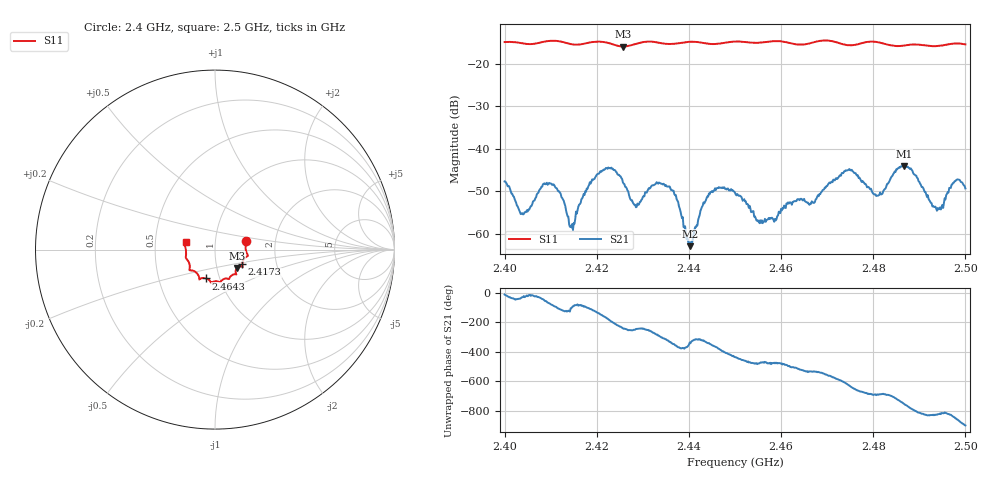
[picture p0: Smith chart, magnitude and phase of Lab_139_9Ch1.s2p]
# Hz S RI R 50
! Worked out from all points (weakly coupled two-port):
!   601 points, 2.4 GHz to 2.5 GHz, reference 50 ohm
!   highest |S21| = -44.03 dB at 2.4867 GHz (marker M1); lowest = -62.9 dB at 2.4403 GHz (marker M2)
!   lowest |S11| = -15.9 dB at 2.4257 GHz (marker M3), VSWR 1.38, Z = 62.5 - j13.1 ohm
!   |S11| at or under -10 dB: start of sweep to end of sweep
!   S12 and S22 are empty: the file has one direction only
!   S11 on the Smith chart (normalised r, x): 2.4 GHz: 1.41, +0.14; 2.4173 GHz: 1.34, -0.23; 2.4643 GHz: 0.86, -0.28; 2.5 GHz: 0.72, +0.06
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2.4e9  0.1734 0.0493  0.00403 -0.000925  0 0  0 0
2.403833e9  0.1725 0.0268  0.00149 -0.000919  0 0  0 0
2.410333e9  0.1836 -0.0335  0.00043 -0.00374  0 0  0 0
2.4145e9  0.1623 -0.0511  -0.000305 -0.00115  0 0  0 0
2.416667e9  0.1528 -0.0746  3.03e-05 -0.00255  0 0  0 0
2.417333e9  0.1522 -0.082  -0.000121 -0.00286  0 0  0 0
2.422e9  0.1513 -0.0946  -0.00585 -0.00113  0 0  0 0
2.425667e9  0.1227 -0.1024  -0.00197 0.00352  0 0  0 0
2.428667e9  0.1154 -0.129  -0.000831 0.00191  0 0  0 0
2.433333e9  0.1128 -0.137  0.00145 0.00361  0 0  0 0
2.436833e9  0.0883 -0.1476  0.0029 0.000469  0 0  0 0
2.440333e9  0.0788 -0.1638  0.000687 0.000203  0 0  0 0
2.4445e9  0.0595 -0.1609  0.00286 0.000616  0 0  0 0
2.45e9  0.0293 -0.1808  0.000659 -0.00297  0 0  0 0
2.455833e9  -0.00528 -0.1779  -0.0006 -0.00131  0 0  0 0
2.464333e9  -0.0499 -0.1605  -0.00249 -0.000708  0 0  0 0
2.466667e9  -0.0759 -0.1596  -0.0024 -0.000181  0 0  0 0
2.474333e9  -0.0999 -0.1325  -0.000907 0.0055  0 0  0 0
2.483333e9  -0.1406 -0.09  0.0036 0.00175  0 0  0 0
2.486667e9  -0.1532 -0.0585  0.00517 -0.00358  0 0  0 0
2.493833e9  -0.1616 -0.00384  -0.000593 -0.00177  0 0  0 0
2.5e9  -0.1637 0.0422  -0.00342 7.93e-05  0 0  0 0
